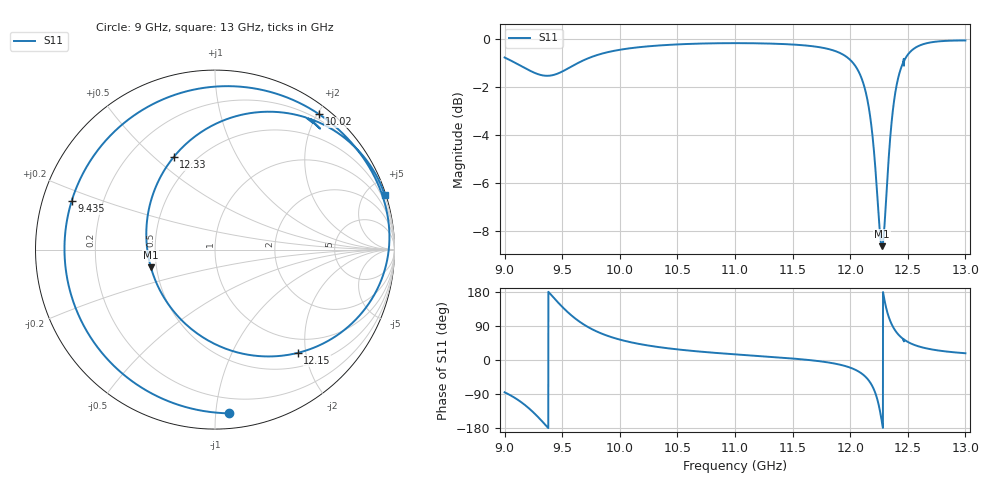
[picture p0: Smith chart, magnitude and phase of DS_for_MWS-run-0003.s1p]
! TOUCHSTONE file generated by CST DESIGN STUDIO
! Date and time: Tue Feb  4 13:25:43 2025
! Project name: C:\Work\MatlabApps\UnitCellOptimizationMatlab\CST\unitcell.cst
! Tree item: Tasks\Sweep1\SPara1\S-Parameters
! Header version: 2024
! Port assignment regex: !\s*Touchstone port\s*([0-9]+)\s*=\s*(CST MWS port|CST DES external port|CST DES block port)\s*(.+)\s* \(\"(.*)\"\)(\s*mode\s*([0-9]+))?.*
! Touchstone port assignment:
! Touchstone port 1 = CST DES external port 1 ("")
# GHz S MA R 50
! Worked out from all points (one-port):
!   4001 points, 9 GHz to 13 GHz, reference 50 ohm
!   lowest |S11| = -8.6 dB at 12.28 GHz (marker M1), VSWR 2.18, Z = 23.3 - j5.28 ohm
!   |S11| at or under -10 dB: nowhere
!   S11 on the Smith chart (normalised r, x): 9 GHz: 0.10, -1.08; 9.435 GHz: 0.09, +0.16; 10.02 GHz: 0.13, +2.03; 12.15 GHz: 0.73, -1.85; 12.33 GHz: 0.38, +0.58; 13 GHz: 0.14, +6.37
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9  0.9154 -85.2
9.119  0.8852 -105.9
9.216  0.8603 -128.8
9.335  0.8398 -164.9
9.435  0.8433 161.3
9.5  0.8558 140.4
9.589  0.879 115.4
9.686  0.9034 93.9
9.834  0.9309 70.7
10  0.9499 53.8
10.018  0.9514 52.4
10.5  0.9746 28.0
11  0.9805 14.9
11.5  0.9741 3.9
11.8  0.9547 -6.0
12  0.9049 -20.1
12.088  0.841 -33.2
12.154  0.7374 -51.3
12.221  0.5283 -89.6
12.276  0.3707 -164.7
12.303  0.4278 150.1
12.334  0.5644 114.1
12.363  0.6846 92.4
12.396  0.7851 75.5
12.447  0.8781 58.6
12.5  0.9278 47.7
12.673  0.9813 29.9
13  0.9932 17.8
